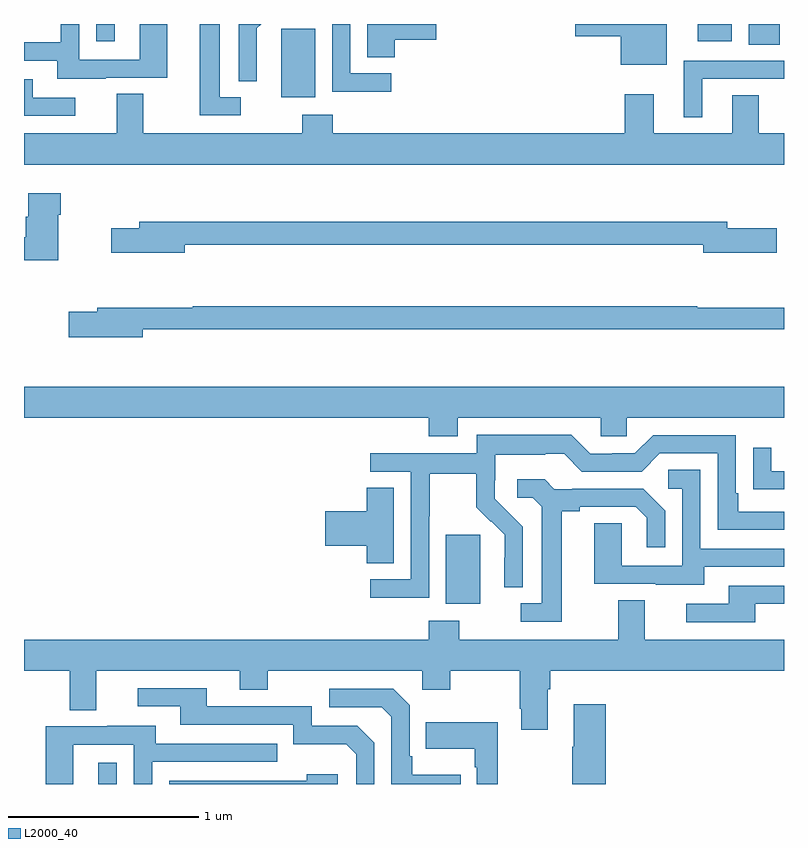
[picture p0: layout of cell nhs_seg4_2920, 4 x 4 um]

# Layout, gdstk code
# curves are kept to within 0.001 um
import gdstk
lib = gdstk.Library(unit=1e-6, precision=1e-09)
def R(c, l, rs):  # rectangles x0, y0, x1, y1
    for r in rs: c.add(gdstk.rectangle(r[:2], r[2:], *l))
def P(c, l, *ps):  # polygons
    for p in ps: c.add(gdstk.Polygon(p, *l))
L2000_40 = (2000, 40)

nhs_seg4_2920 = lib.new_cell('nhs_seg4_2920')
R(nhs_seg4_2920, L2000_40, [(265.391,786.9,265.488,787.012), (267.221,787.85,267.4,788.211), (266.354,790.514,266.533,790.875), (268.814,790.792,268.978,790.9), (268.547,790.808,268.726,790.9), (265.38,790.809,265.477,790.9)])
P(nhs_seg4_2920, L2000_40, [(266.951,790.817),(267.169,790.817),(267.169,790.9),(266.807,790.9),(266.807,790.726),(266.951,790.726)],
  [(268.384,790.9),(267.9,790.9),(267.9,790.835),(268.142,790.835),(268.142,790.685),(268.384,790.685)],
  [(266.14,790.515),(266.029,790.515),(266.029,790.9),(265.925,790.9),(265.925,790.419),(266.14,790.419)],
  [(266.932,790.641),(266.718,790.641),(266.718,790.9),(266.622,790.9),(266.622,790.543),(266.932,790.543)],
  [(265.429,790.617),(265.753,790.617),(265.753,790.9),(265.608,790.9),(265.608,790.713),(265.29,790.713),(265.29,790.9),(265.194,790.9),(265.194,790.803),(265,790.803),(265,790.707),(265.175,790.707),(265.175,790.613),(265.429,790.613)],
  [(266.226,790.754),(266.225,790.754),(266.225,790.877),(266.248,790.9),(266.13,790.9),(266.13,790.6),(266.226,790.6)],
  [(268.57,790.611),(269,790.611),(269,790.707),(268.472,790.707),(268.472,790.41),(268.57,790.41)],
  [(265.27,790.512),(265.045,790.512),(265.045,790.608),(265,790.608),(265,790.416),(265.27,790.416)],
  [(269,790.324),(268.867,790.324),(268.867,790.526),(268.727,790.526),(268.727,790.324),(268.315,790.324),(268.315,790.531),(268.163,790.531),(268.163,790.324),(266.624,790.324),(266.624,790.423),(266.464,790.423),(266.464,790.324),(265.627,790.324),(265.627,790.532),(265.487,790.532),(265.487,790.324),(265,790.324),(265,790.16),(269,790.16)],
  [(265.18,789.896),(265.193,789.896),(265.193,790.009),(265.022,790.009),(265.022,789.885),(265.01,789.885),(265.01,789.778),(265,789.778),(265,789.656),(265.18,789.656)],
  [(265.846,789.738),(268.574,789.738),(268.574,789.695),(268.963,789.695),(268.963,789.825),(268.702,789.825),(268.702,789.859),(265.607,789.859),(265.607,789.825),(265.458,789.825),(265.458,789.695),(265.846,789.695)],
  [(265.624,789.294),(269,789.294),(269,789.407),(268.543,789.407),(268.543,789.415),(265.889,789.415),(265.889,789.407),(265.385,789.407),(265.385,789.386),(265.236,789.386),(265.236,789.251),(265.624,789.251)],
  [(267.283,788.828),(268.035,788.828),(268.035,788.73),(268.173,788.73),(268.173,788.828),(269,788.828),(269,788.992),(265,788.992),(265,788.828),(267.131,788.828),(267.131,788.729),(267.283,788.729)],
  [(267.132,788.308),(267.135,788.308),(267.135,788.532),(267.379,788.532),(267.379,788.357),(267.456,788.28),(267.459,788.283),(267.53,788.213),(267.53,788.09),(267.528,788.09),(267.528,787.936),(267.624,787.936),(267.624,788.254),(267.478,788.402),(267.478,788.499),(267.48,788.499),(267.48,788.633),(267.743,788.633),(267.743,788.637),(267.843,788.637),(267.936,788.544),(268.251,788.544),(268.347,788.64),(268.65,788.64),(268.65,788.238),(269,788.238),(269,788.334),(268.759,788.334),(268.759,788.431),(268.746,788.431),(268.746,788.736),(268.311,788.736),(268.215,788.64),(268.097,788.64),(268.097,788.637),(267.981,788.637),(267.881,788.737),(267.384,788.737),(267.384,788.64),(266.823,788.64),(266.823,788.544),(267.036,788.544),(267.036,787.977),(266.823,787.977),(266.823,787.879),(267.132,787.879)],
  [(269,788.547),(268.933,788.547),(268.933,788.671),(268.837,788.671),(268.837,788.452),(268.939,788.452),(268.939,788.451),(269,788.451)],
  [(268.579,788.043),(269,788.043),(269,788.139),(268.56,788.139),(268.56,788.555),(268.392,788.555),(268.392,788.454),(268.464,788.454),(268.464,788.049),(268.146,788.049),(268.146,788.273),(268.001,788.273),(268.001,787.953),(268.325,787.953),(268.325,787.949),(268.579,787.949)],
  [(267.829,788.336),(267.925,788.336),(267.925,788.358),(268.22,788.358),(268.277,788.301),(268.277,788.145),(268.374,788.145),(268.374,788.338),(268.258,788.454),(267.886,788.454),(267.886,788.451),(267.792,788.451),(267.74,788.503),(267.597,788.503),(267.597,788.406),(267.678,788.406),(267.725,788.359),(267.725,787.851),(267.615,787.851),(267.615,787.755),(267.829,787.755)],
  [(266.947,788.459),(266.804,788.459),(266.804,788.336),(266.586,788.336),(266.586,788.153),(266.804,788.153),(266.804,788.062),(266.947,788.062)],
  [(268.849,787.848),(269,787.848),(269,787.944),(268.709,787.944),(268.709,787.848),(268.485,787.848),(268.485,787.752),(268.849,787.752)],
  [(267.757,787.4),(267.77,787.4),(267.77,787.496),(269,787.496),(269,787.66),(268.267,787.66),(268.267,787.868),(268.127,787.868),(268.127,787.66),(267.291,787.66),(267.291,787.759),(267.131,787.759),(267.131,787.66),(265,787.66),(265,787.496),(265.241,787.496),(265.241,787.288),(265.381,787.288),(265.381,787.496),(266.135,787.496),(266.135,787.397),(266.283,787.397),(266.283,787.496),(267.096,787.496),(267.096,787.397),(267.243,787.397),(267.243,787.496),(267.61,787.496),(267.61,787.297),(267.617,787.297),(267.617,787.185),(267.757,787.185)],
  [(266.844,787.116),(266.754,787.206),(266.514,787.206),(266.514,787.308),(265.963,787.308),(265.963,787.404),(265.599,787.404),(265.599,787.308),(265.823,787.308),(265.823,787.212),(266.418,787.212),(266.418,787.109),(266.695,787.109),(266.748,787.056),(266.748,786.9),(266.844,786.9)],
  [(267.299,786.949),(267.043,786.949),(267.043,787.045),(267.03,787.045),(267.03,787.314),(266.943,787.401),(266.607,787.401),(266.607,787.305),(266.883,787.305),(266.934,787.254),(266.934,786.9),(267.299,786.9)],
  [(268.061,787.321),(267.893,787.321),(267.893,787.097),(267.886,787.097),(267.886,786.9),(268.061,786.9)],
  [(267.493,787.225),(267.115,787.225),(267.115,787.085),(267.372,787.085),(267.372,786.989),(267.384,786.989),(267.384,786.9),(267.493,786.9)],
  [(265.26,787.107),(265.578,787.107),(265.578,786.9),(265.674,786.9),(265.674,787.017),(266.333,787.017),(266.333,787.113),(265.693,787.113),(265.693,787.207),(265.439,787.207),(265.439,787.203),(265.115,787.203),(265.115,786.9),(265.26,786.9)],
  [(266.65,786.952),(266.489,786.952),(266.489,786.918),(265.764,786.918),(265.764,786.9),(266.65,786.9)])

lib.write_gds('nhs_seg4_2920.gds')
